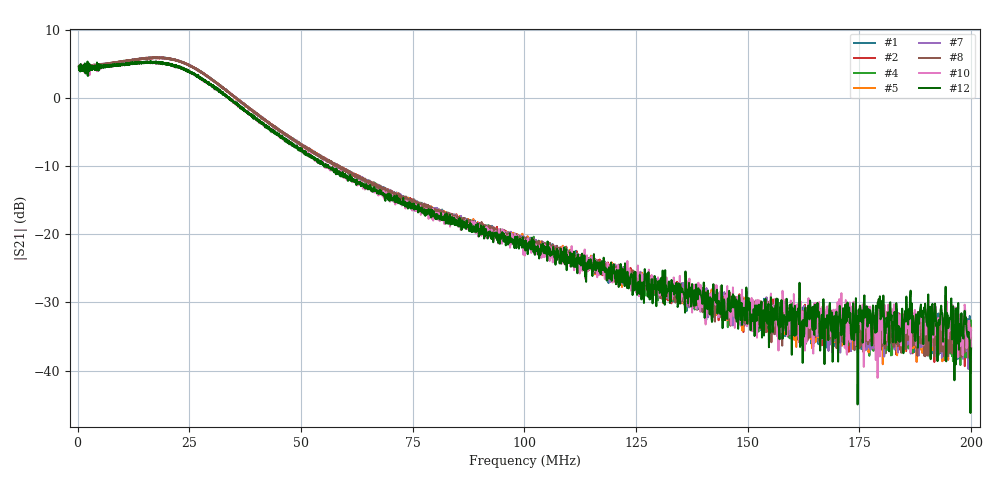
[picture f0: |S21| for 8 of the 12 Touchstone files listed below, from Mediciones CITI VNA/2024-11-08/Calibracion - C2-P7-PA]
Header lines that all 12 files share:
# Hz S DB R 50
! CMT, M5065, 19127446, 24.2.4/2
! Data: Format (Calibration Info)
! Freq	S11:dB/Ang(F2)	S21:dB/Ang(F2)	S12:dB/Ang(F2)	S22:dB/Ang(F2)
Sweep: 300 kHz to 200 MHz
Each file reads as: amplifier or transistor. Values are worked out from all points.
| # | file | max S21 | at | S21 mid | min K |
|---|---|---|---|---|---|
| 1 | calib_0.s2p | 5.9 dB | 16.79 MHz | -21.0 dB at 100.2 MHz | 8.00 |
| 2 | calib_1.s2p | 5.9 dB | 18.59 MHz | -21.0 dB at 100.2 MHz | 7.52 |
| 3 | calib_2.s2p | 5.9 dB | 17.85 MHz | -21.6 dB at 100.2 MHz | 6.78 |
| 4 | calib_3.s2p | 5.9 dB | 17.81 MHz | -21.0 dB at 100.2 MHz | 6.99 |
| 5 | calib_4.s2p | 5.9 dB | 17.39 MHz | -21.3 dB at 100.2 MHz | 8.37 |
| 6 | calib_5.s2p | 5.9 dB | 18.72 MHz | -21.2 dB at 100.2 MHz | 7.81 |
| 7 | calib_6.s2p | 5.9 dB | 18.54 MHz | -20.7 dB at 100.2 MHz | 7.65 |
| 8 | calib_7.s2p | 5.9 dB | 17.34 MHz | -20.7 dB at 100.2 MHz | 6.82 |
| 9 | test_0.s2p | 5.3 dB | 16.11 MHz | 4.8 dB at 7.749 MHz | -4032.22 |
| 10 | test_1.s2p | 5.3 dB | 16.3 MHz | 4.7 dB at 7.749 MHz | -4200.18 |
| 11 | test_2.s2p | 5.4 dB | 2.025 MHz | 4.7 dB at 7.749 MHz | -2360.36 |
| 12 | test_4.s2p | 5.4 dB | 16.27 MHz | 4.8 dB at 7.749 MHz | -7601.95 |
